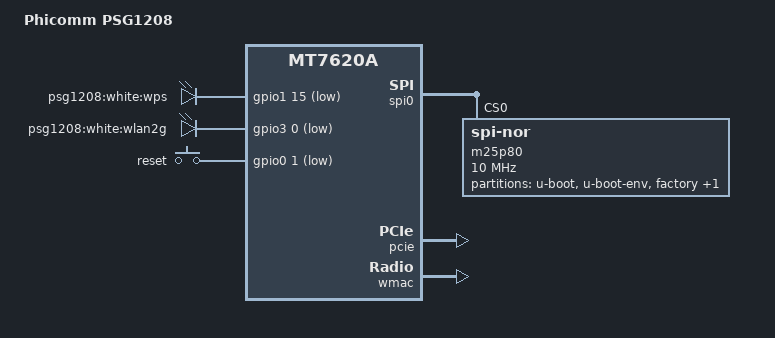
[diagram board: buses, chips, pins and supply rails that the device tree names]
/dts-v1/;

#include "mt7620a.dtsi"

#include <dt-bindings/gpio/gpio.h>
#include <dt-bindings/input/input.h>

/ {
	compatible = "phicomm,psg1208", "ralink,mt7620a-soc";
	model = "Phicomm PSG1208";

	aliases {
		led-status = &led_wps;
	};

	gpio-leds {
		compatible = "gpio-leds";

		led_wps: wps {
			label = "psg1208:white:wps";
			gpios = <&gpio1 15 GPIO_ACTIVE_LOW>;
		};

		wlan {
			label = "psg1208:white:wlan2g";
			gpios = <&gpio3 0 GPIO_ACTIVE_LOW>;
		};
	};

	gpio-keys-polled {
		compatible = "gpio-keys-polled";
		poll-interval = <20>;

		reset {
			label = "reset";
			gpios = <&gpio0 1 GPIO_ACTIVE_LOW>;
			linux,code = <KEY_RESTART>;
		};
	};
};

&gpio1 {
	status = "okay";
};

&gpio3 {
	status = "okay";
};

&spi0 {
	status = "okay";

	m25p80@0 {
		compatible = "jedec,spi-nor";
		reg = <0>;
		spi-max-frequency = <10000000>;

		partitions {
			compatible = "fixed-partitions";
			#address-cells = <1>;
			#size-cells = <1>;

			partition@0 {
				label = "u-boot";
				reg = <0x0 0x30000>;
				read-only;
			};

			partition@20000 {
				label = "u-boot-env";
				reg = <0x30000 0x10000>;
				read-only;
			};

			factory: partition@30000 {
				label = "factory";
				reg = <0x40000 0x10000>;
				read-only;
			};

			partition@40000 {
				label = "firmware";
				reg = <0x50000 0x7b0000>;
			};
		};
	};
};

&pinctrl {
	state_default: pinctrl0 {
		gpio {
			ralink,group = "i2c", "spi refclk", "wled";
			ralink,function = "gpio";
		};
	};
};

&ethernet {
	pinctrl-names = "default";
	pinctrl-0 = <&ephy_pins>;
	mtd-mac-address = <&factory 0x4>;
	mediatek,portmap = "llllw";
};

&pcie {
	status = "okay";
};

&pcie0 {
	mt76@0,0 {
		reg = <0x0000 0 0 0 0>;
		mediatek,mtd-eeprom = <&factory 0x8000>;
		ieee80211-freq-limit = <5000000 6000000>;
	};
};

&wmac {
	ralink,mtd-eeprom = <&factory 0>;
};
